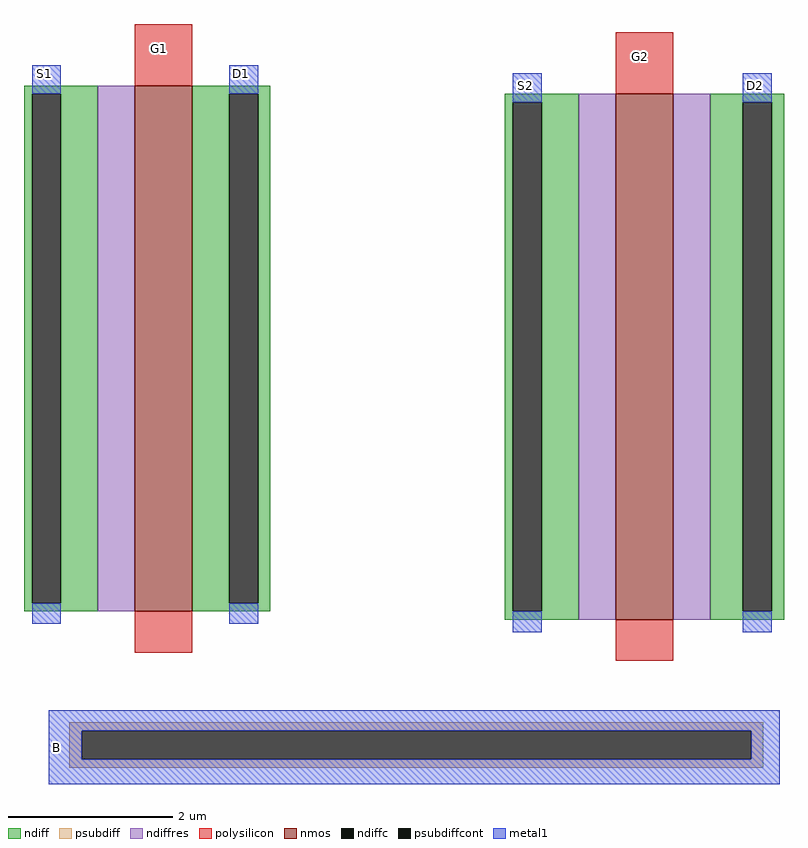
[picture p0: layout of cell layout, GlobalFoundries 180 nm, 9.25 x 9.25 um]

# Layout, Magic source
magic
tech gf180mcuD
<< nmos >>
rect 18 0 32 128
rect 135 -2 149 126
<< ndiff >>
rect -9 126 9 128
rect -9 2 -7 126
rect 0 2 9 126
rect -9 0 9 2
rect 32 126 51 128
rect 32 2 41 126
rect 48 2 51 126
rect 32 0 51 2
rect 108 124 126 126
rect 108 0 110 124
rect 117 0 126 124
rect 108 -2 126 0
rect 158 124 176 126
rect 158 0 166 124
rect 173 0 176 124
rect 158 -2 176 0
<< ndiffc >>
rect -7 2 0 126
rect 41 2 48 126
rect 110 0 117 124
rect 166 0 173 124
<< psubdiff >>
rect 2 -29 171 -27
rect 2 -36 5 -29
rect 168 -36 171 -29
rect 2 -38 171 -36
<< psubdiffcont >>
rect 5 -36 168 -29
<< polysilicon >>
rect 18 128 32 143
rect 135 126 149 141
rect 18 -10 32 0
rect 135 -12 149 -2
<< ndiffres >>
rect 9 0 18 128
rect 126 -2 135 126
rect 149 -2 158 126
<< metal1 >>
rect -7 126 0 133
rect -7 -3 0 2
rect 41 126 48 133
rect 41 -3 48 2
rect 110 124 117 131
rect 110 -5 117 0
rect 166 124 173 131
rect 166 -5 173 0
rect -3 -29 175 -24
rect -3 -36 5 -29
rect 168 -36 175 -29
rect -3 -42 175 -36
<< labels >>
flabel metal1 -4 131 -4 131 0 FreeSans 80 0 0 0 S1
flabel metal1 44 131 44 131 0 FreeSans 80 0 0 0 D1
flabel polysilicon 24 137 24 137 0 FreeSans 80 0 0 0 G1
flabel polysilicon 141 135 141 135 0 FreeSans 80 0 0 0 G2
flabel metal1 113 128 113 128 0 FreeSans 80 0 0 0 S2
flabel metal1 169 128 169 128 0 FreeSans 80 0 0 0 D2
flabel metal1 -1 -33 -1 -33 0 FreeSans 80 0 0 0 B
<< end >>
